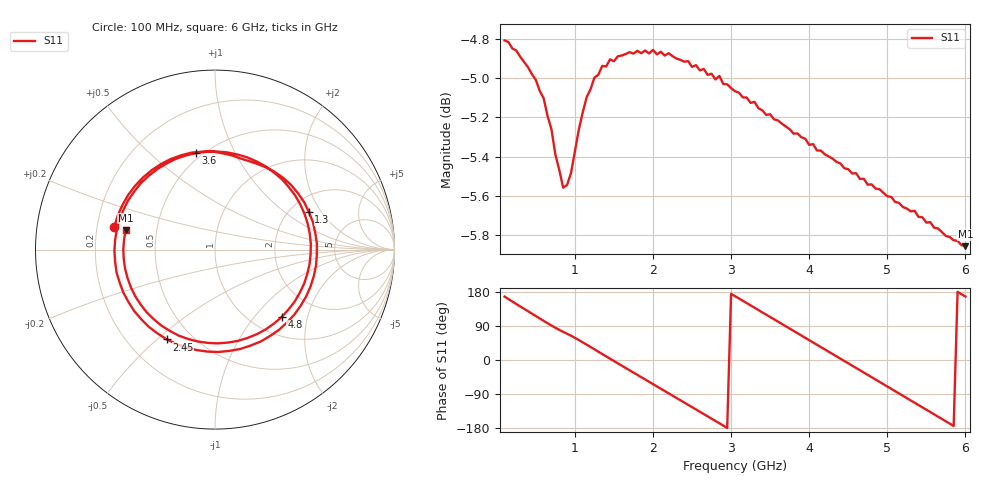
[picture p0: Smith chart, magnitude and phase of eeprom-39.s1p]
! Created with skrf 2.0.0 (http://scikit-rf.org).
# Hz S RI R 50.0
!freq ReS11 ImS11
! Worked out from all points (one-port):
!   119 points, 100 MHz to 6 GHz, reference 50 ohm
!   lowest |S11| = -5.9 dB at 6 GHz (marker M1), VSWR 3.08, Z = 16.4 + j4.87 ohm
!   |S11| at or under -10 dB: nowhere
!   S11 on the Smith chart (normalised r, x): 100 MHz: 0.27, +0.10; 1.3 GHz: 2.51, +1.55; 2.45 GHz: 0.36, -0.54; 3.6 GHz: 0.46, +0.71; 4.8 GHz: 1.34, -1.40; 6 GHz: 0.33, +0.10
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1e8  -0.5609 0.1268
3e8  -0.4449 0.3556
5e8  -0.2462 0.505
6.5e8  -0.0679 0.5458
8.5e8  0.1425 0.5077
1.05e9  0.3299 0.4346
1.3e9  0.5227 0.2106
1.6e9  0.5509 -0.1461
1.8e9  0.4425 -0.3617
2e9  0.2541 -0.5123
2.2e9  0.0205 -0.5704
2.35e9  -0.1573 -0.5463
2.45e9  -0.269 -0.5003
2.75e9  -0.5107 -0.239
3.05e9  -0.5469 0.1114
3.35e9  -0.3685 0.4117
3.6e9  -0.1068 0.5381
3.8e9  0.1246 0.5299
4e9  0.3302 0.4282
4.2e9  0.4748 0.2525
4.4e9  0.5338 0.0333
4.55e9  0.514 -0.1362
4.8e9  0.3708 -0.3764
5.05e9  0.1268 -0.5089
5.3e9  -0.1493 -0.4981
5.65e9  -0.4439 -0.2607
5.85e9  -0.5085 -0.0523
6e9  -0.4975 0.1098
